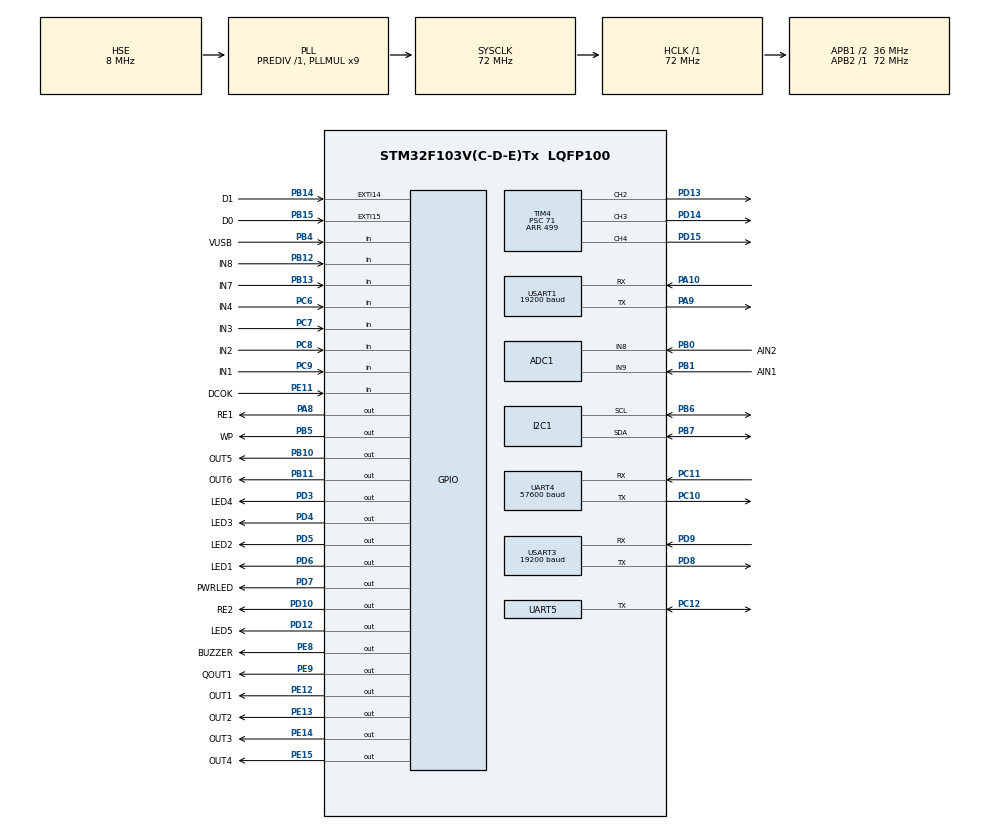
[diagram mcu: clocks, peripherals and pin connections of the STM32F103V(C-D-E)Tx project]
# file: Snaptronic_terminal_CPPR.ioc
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ADC1.Channel-0\#ChannelRegularConversion=ADC_CHANNEL_9
ADC1.Channel-1\#ChannelRegularConversion=ADC_CHANNEL_8
ADC1.ContinuousConvMode=DISABLE
ADC1.EnableAnalogWatchDog=true
ADC1.NbrOfConversion=2
ADC1.NbrOfConversionFlag=1
ADC1.Rank-0\#ChannelRegularConversion=1
ADC1.Rank-1\#ChannelRegularConversion=2
ADC1.SamplingTime-0\#ChannelRegularConversion=ADC_SAMPLETIME_71CYCLES_5
ADC1.SamplingTime-1\#ChannelRegularConversion=ADC_SAMPLETIME_71CYCLES_5
ADC1.WatchdogChannel=ADC_CHANNEL_9
ADC1.master=1
Dma.ADC1.4.Direction=DMA_PERIPH_TO_MEMORY
Dma.ADC1.4.Instance=DMA1_Channel1
Dma.ADC1.4.MemDataAlignment=DMA_MDATAALIGN_HALFWORD
Dma.ADC1.4.MemInc=DMA_MINC_ENABLE
Dma.ADC1.4.Mode=DMA_NORMAL
Dma.ADC1.4.PeriphDataAlignment=DMA_PDATAALIGN_HALFWORD
Dma.ADC1.4.PeriphInc=DMA_PINC_DISABLE
Dma.ADC1.4.Priority=DMA_PRIORITY_LOW
Dma.I2C1_RX.2.Direction=DMA_PERIPH_TO_MEMORY
Dma.I2C1_RX.2.Instance=DMA1_Channel7
Dma.I2C1_RX.2.MemDataAlignment=DMA_MDATAALIGN_BYTE
Dma.I2C1_RX.2.MemInc=DMA_MINC_ENABLE
Dma.I2C1_RX.2.Mode=DMA_NORMAL
Dma.I2C1_RX.2.PeriphDataAlignment=DMA_PDATAALIGN_BYTE
Dma.I2C1_RX.2.PeriphInc=DMA_PINC_DISABLE
Dma.I2C1_RX.2.Priority=DMA_PRIORITY_LOW
Dma.I2C1_TX.3.Direction=DMA_MEMORY_TO_PERIPH
Dma.I2C1_TX.3.Instance=DMA1_Channel6
Dma.I2C1_TX.3.MemDataAlignment=DMA_MDATAALIGN_BYTE
Dma.I2C1_TX.3.MemInc=DMA_MINC_ENABLE
Dma.I2C1_TX.3.Mode=DMA_NORMAL
Dma.I2C1_TX.3.PeriphDataAlignment=DMA_PDATAALIGN_BYTE
Dma.I2C1_TX.3.PeriphInc=DMA_PINC_DISABLE
Dma.I2C1_TX.3.Priority=DMA_PRIORITY_LOW
Dma.Request0=USART3_RX
Dma.Request1=USART3_TX
Dma.Request2=I2C1_RX
Dma.Request3=I2C1_TX
Dma.Request4=ADC1
Dma.Request5=UART4_RX
Dma.Request6=UART4_TX
Dma.UART4_RX.5.Direction=DMA_PERIPH_TO_MEMORY
Dma.UART4_RX.5.Instance=DMA2_Channel3
Dma.UART4_RX.5.MemDataAlignment=DMA_MDATAALIGN_BYTE
Dma.UART4_RX.5.MemInc=DMA_MINC_ENABLE
Dma.UART4_RX.5.Mode=DMA_NORMAL
Dma.UART4_RX.5.PeriphDataAlignment=DMA_PDATAALIGN_BYTE
Dma.UART4_RX.5.PeriphInc=DMA_PINC_DISABLE
Dma.UART4_RX.5.Priority=DMA_PRIORITY_HIGH
Dma.UART4_TX.6.Direction=DMA_MEMORY_TO_PERIPH
Dma.UART4_TX.6.Instance=DMA2_Channel5
Dma.UART4_TX.6.MemDataAlignment=DMA_MDATAALIGN_BYTE
Dma.UART4_TX.6.MemInc=DMA_MINC_ENABLE
Dma.UART4_TX.6.Mode=DMA_NORMAL
Dma.UART4_TX.6.PeriphDataAlignment=DMA_PDATAALIGN_BYTE
Dma.UART4_TX.6.PeriphInc=DMA_PINC_DISABLE
Dma.UART4_TX.6.Priority=DMA_PRIORITY_HIGH
Dma.USART3_RX.0.Direction=DMA_PERIPH_TO_MEMORY
Dma.USART3_RX.0.Instance=DMA1_Channel3
Dma.USART3_RX.0.MemDataAlignment=DMA_MDATAALIGN_BYTE
Dma.USART3_RX.0.MemInc=DMA_MINC_ENABLE
Dma.USART3_RX.0.Mode=DMA_NORMAL
Dma.USART3_RX.0.PeriphDataAlignment=DMA_PDATAALIGN_BYTE
Dma.USART3_RX.0.PeriphInc=DMA_PINC_DISABLE
Dma.USART3_RX.0.Priority=DMA_PRIORITY_MEDIUM
Dma.USART3_TX.1.Direction=DMA_MEMORY_TO_PERIPH
Dma.USART3_TX.1.Instance=DMA1_Channel2
Dma.USART3_TX.1.MemDataAlignment=DMA_MDATAALIGN_BYTE
Dma.USART3_TX.1.MemInc=DMA_MINC_ENABLE
Dma.USART3_TX.1.Mode=DMA_NORMAL
Dma.USART3_TX.1.PeriphDataAlignment=DMA_PDATAALIGN_BYTE
Dma.USART3_TX.1.PeriphInc=DMA_PINC_DISABLE
Dma.USART3_TX.1.Priority=DMA_PRIORITY_MEDIUM
FREERTOS.BinarySemaphores01=usbSem,Dynamic,NULL
FREERTOS.Queues01=uart4DataSize,4,uint16_t,0,Dynamic,NULL,NULL;uart1DataSize,4,uint16_t,0,Dynamic,NULL,NULL
FREERTOS.Tasks01=defaultTask,24,128,StartDefaultTask,Default,NULL,Dynamic,NULL,NULL;SysUtil,24,512,StartSysUtil,Default,NULL,Dynamic,NULL,NULL;IOUtil,24,512,StartIOUtil,Default,NULL,Dynamic,NULL,NULL;UsbSlave,24,1024,StartUsbSlave,Default,NULL,Dynamic,NULL,NULL;RobotProcess,24,1024,StartRobotProcess,Default,NULL,Dynamic,NULL,NULL;ClimatControl,16,512,StartClimatControl,Default,NULL,Dynamic,NULL,NULL;SecurityTask,16,512,StartSecurityTask,Default,NULL,Dynamic,NULL,NULL;LedStrip,16,512,StartLedStrip,Default,NULL,Dynamic,NULL,NULL;ModbusMaster,8,1024,StartModbusMaster,Default,NULL,Dynamic,NULL,NULL
FREERTOS.Timers01=usbLedTimer,usbLedCallback,osTimerOnce,Default,NULL,Dynamic,NULL;noConnectTimer,noConnectCallback,osTimerPeriodic,Default,NULL,Dynamic,NULL
FREERTOS.configCHECK_FOR_STACK_OVERFLOW=1
FREERTOS.configQUEUE_REGISTRY_SIZE=12
FREERTOS.configTOTAL_HEAP_SIZE=40960
FREERTOS.configUSE_MALLOC_FAILED_HOOK=1
FREERTOS.configUSE_NEWLIB_REENTRANT=1
FREERTOS.configUSE_TIMERS=1
I2C1.I2C_Mode=I2C_Fast
IWDG.Prescaler=IWDG_PRESCALER_128
IWDG.Reload=2300
Mcu.Family=STM32F1
Mcu.Name=STM32F103V(C-D-E)Tx
Mcu.Package=LQFP100
NVIC.DMA1_Channel1_IRQn=true\:5\:0\:false\:false\:true\:true\:false\:true\:true
NVIC.DMA1_Channel2_IRQn=true\:5\:0\:false\:false\:true\:true\:false\:true\:true
NVIC.DMA1_Channel3_IRQn=true\:5\:0\:false\:false\:true\:true\:false\:true\:true
NVIC.DMA1_Channel6_IRQn=true\:5\:0\:false\:false\:true\:true\:false\:true\:true
NVIC.DMA1_Channel7_IRQn=true\:5\:0\:false\:false\:true\:true\:false\:true\:true
NVIC.DMA2_Channel3_IRQn=true\:5\:0\:false\:false\:true\:true\:false\:true\:true
NVIC.DMA2_Channel4_5_IRQn=true\:5\:0\:false\:false\:true\:true\:false\:true\:true
NVIC.EXTI15_10_IRQn=true\:5\:0\:false\:false\:true\:true\:true\:true\:true
NVIC.I2C1_EV_IRQn=true\:5\:0\:false\:false\:true\:true\:true\:true\:true
NVIC.PriorityGroup=NVIC_PRIORITYGROUP_4
NVIC.TIM3_IRQn=true\:15\:0\:false\:false\:true\:false\:false\:true\:true
NVIC.TimeBase=TIM3_IRQn
NVIC.TimeBaseIP=TIM3
NVIC.UART4_IRQn=true\:5\:0\:false\:false\:true\:true\:true\:true\:true
NVIC.USART1_IRQn=true\:5\:0\:true\:false\:true\:true\:true\:true\:true
NVIC.USART3_IRQn=true\:5\:0\:false\:false\:true\:true\:true\:true\:true
OSC_IN.Mode=HSE-External-Oscillator
OSC_IN.Signal=RCC_OSC_IN
OSC_OUT.Mode=HSE-External-Oscillator
OSC_OUT.Signal=RCC_OSC_OUT
PA10.Mode=Asynchronous
PA10.Signal=USART1_RX
PA13.Mode=Trace_Asynchronous_SW
PA13.Signal=SYS_JTMS-SWDIO
PA14.Mode=Trace_Asynchronous_SW
PA14.Signal=SYS_JTCK-SWCLK
PA8.GPIO_Label=RE1
PA8.GPIO_Speed=GPIO_SPEED_FREQ_HIGH
PA8.PinState=GPIO_PIN_RESET
PA8.Signal=GPIO_Output
PA9.Mode=Asynchronous
PA9.Signal=USART1_TX
PB0.GPIO_Label=AIN2
PB0.Signal=ADCx_IN8
PB1.GPIO_Label=AIN1
PB1.Signal=ADCx_IN9
PB10.GPIO_Label=OUT5
PB10.Signal=GPIO_Output
PB11.GPIO_Label=OUT6
PB11.Signal=GPIO_Output
PB12.GPIO_Label=IN8
PB12.Signal=GPIO_Input
PB13.GPIO_Label=IN7
PB13.Signal=GPIO_Input
PB14.GPIO_Label=D1
PB14.GPIO_ModeDefaultEXTI=GPIO_MODE_IT_FALLING
PB14.Signal=GPXTI14
PB15.GPIO_Label=D0
PB15.GPIO_ModeDefaultEXTI=GPIO_MODE_IT_FALLING
PB15.Signal=GPXTI15
PB3.Mode=Trace_Asynchronous_SW
PB3.Signal=SYS_JTDO-TRACESWO
PB4.GPIO_Label=VUSB
PB4.Signal=GPIO_Input
PB5.GPIO_Label=WP
PB5.GPIO_Speed=GPIO_SPEED_FREQ_HIGH
PB5.Signal=GPIO_Output
PB6.Mode=I2C
PB6.Signal=I2C1_SCL
PB7.Mode=I2C
PB7.Signal=I2C1_SDA
PC10.Mode=Asynchronous
PC10.Signal=UART4_TX
PC11.Mode=Asynchronous
PC11.Signal=UART4_RX
PC12.Mode=Half_duplex(single_wire_mode)
PC12.Signal=UART5_TX
PC6.GPIO_Label=IN4
PC6.Signal=GPIO_Input
PC7.GPIO_Label=IN3
PC7.Signal=GPIO_Input
PC8.GPIO_Label=IN2
PC8.Signal=GPIO_Input
PC9.GPIO_Label=IN1
PC9.Signal=GPIO_Input
PD10.GPIO_Label=RE2
PD10.GPIO_Speed=GPIO_SPEED_FREQ_HIGH
PD10.Signal=GPIO_Output
PD12.GPIO_Label=LED5
PD12.GPIO_ModeDefaultOutputPP=GPIO_MODE_OUTPUT_OD
PD12.GPIO_PuPd=GPIO_NOPULL
PD12.Signal=GPIO_Output
PD13.GPIO_Speed=GPIO_SPEED_FREQ_LOW
PD13.Signal=S_TIM4_CH2
PD14.GPIO_Speed=GPIO_SPEED_FREQ_LOW
PD14.Signal=S_TIM4_CH3
PD15.Signal=S_TIM4_CH4
PD3.GPIO_Label=LED4
PD3.Signal=GPIO_Output
PD4.GPIO_Label=LED3
PD4.GPIO_ModeDefaultOutputPP=GPIO_MODE_OUTPUT_OD
PD4.GPIO_PuPd=GPIO_NOPULL
PD4.Signal=GPIO_Output
PD5.GPIO_Label=LED2
PD5.GPIO_ModeDefaultOutputPP=GPIO_MODE_OUTPUT_OD
PD5.GPIO_PuPd=GPIO_NOPULL
PD5.Signal=GPIO_Output
PD6.GPIO_Label=LED1
PD6.GPIO_ModeDefaultOutputPP=GPIO_MODE_OUTPUT_OD
PD6.GPIO_PuPd=GPIO_NOPULL
PD6.Signal=GPIO_Output
PD7.GPIO_Label=PWRLED
PD7.GPIO_ModeDefaultOutputPP=GPIO_MODE_OUTPUT_OD
PD7.GPIO_PuPd=GPIO_NOPULL
PD7.Signal=GPIO_Output
PD8.Mode=Asynchronous
PD8.Signal=USART3_TX
PD9.Mode=Asynchronous
PD9.Signal=USART3_RX
PE11.GPIO_Label=DCOK
PE11.Signal=GPIO_Input
PE12.GPIO_Label=OUT1
PE12.Signal=GPIO_Output
PE13.GPIO_Label=OUT2
PE13.Signal=GPIO_Output
PE14.GPIO_Label=OUT3
PE14.Signal=GPIO_Output
PE15.GPIO_Label=OUT4
PE15.Signal=GPIO_Output
PE8.GPIO_Label=BUZZER
PE8.Signal=GPIO_Output
PE9.GPIO_Label=QOUT1
PE9.Signal=GPIO_Output
ProjectManager.HeapSize=0x200
ProjectManager.StackSize=0x400
ProjectManager.TargetToolchain=STM32CubeIDE
RCC.ADCPresc=RCC_ADCPCLK2_DIV6
RCC.AHBFreq_Value=72000000
RCC.APB1CLKDivider=RCC_HCLK_DIV2
RCC.APB1Freq_Value=36000000
RCC.APB1TimFreq_Value=72000000
RCC.APB2Freq_Value=72000000
RCC.APB2TimFreq_Value=72000000
RCC.HCLKFreq_Value=72000000
RCC.PLLMUL=RCC_PLL_MUL9
RCC.PLLSourceVirtual=RCC_PLLSOURCE_HSE
RCC.SYSCLKFreq_VALUE=72000000
RCC.SYSCLKSource=RCC_SYSCLKSOURCE_PLLCLK
RCC.USBFreq_Value=48000000
RCC.USBPrescaler=RCC_USBCLKSOURCE_PLL_DIV1_5
SH.ADCx_IN8.0=ADC1_IN8,IN8
SH.ADCx_IN9.0=ADC1_IN9,IN9
SH.S_TIM4_CH2.0=TIM4_CH2,PWM Generation2 CH2
SH.S_TIM4_CH3.0=TIM4_CH3,PWM Generation3 CH3
SH.S_TIM4_CH4.0=TIM4_CH4,PWM Generation4 CH4
TIM2.AutoReloadPreload=TIM_AUTORELOAD_PRELOAD_ENABLE
TIM2.Period=89
TIM4.Channel-PWM\ Generation2\ CH2=TIM_CHANNEL_2
TIM4.Channel-PWM\ Generation3\ CH3=TIM_CHANNEL_3
TIM4.Channel-PWM\ Generation4\ CH4=TIM_CHANNEL_4
TIM4.Period=499
TIM4.Prescaler=71
UART4.BaudRate=57600
UART4.VirtualMode=Asynchronous
UART5.BaudRate=9600
UART5.VirtualMode=Asynchronous
USART1.BaudRate=19200
USART1.VirtualMode=VM_ASYNC
USART3.BaudRate=19200
USART3.VirtualMode=VM_ASYNC
VP_FREERTOS_VS_CMSIS_V2.Mode=CMSIS_V2
VP_IWDG_VS_IWDG.Mode=IWDG_Activate
VP_SYS_VS_tim3.Mode=TIM3
VP_TIM2_VS_ClockSourceINT.Mode=Internal
board=custom

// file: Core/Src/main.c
/* USER CODE BEGIN Header */
/**
  ******************************************************************************
  * @file           : main.c
  * @brief          : Main program body
  ******************************************************************************
  * @attention
  *
  * <h2><center>&copy; Copyright (c) 2024 STMicroelectronics.
  * All rights reserved.</center></h2>
  *
  * This software component is licensed by ST under BSD 3-Clause license,
  * the "License"; You may not use this file except in compliance with the
  * License. You may obtain a copy of the License at:
  *                        opensource.org/licenses/BSD-3-Clause
  *
  ******************************************************************************
  */
/* USER CODE END Header */
#include "main.h"
#include "cmsis_os.h"

/* USER CODE BEGIN Includes */
#include "stdio.h"
#include "init.h"
#include "lcd1602.h"
#include "usb_modbus.h"
#include "slaveDevices.h"
#include "Modbus.h"
#include "terminal_util_DG.h"
#include "GyverMotor.h"
#include "wiegand.h"
#include "ledUART.h"
//#include "eeprom.h"
/* USER CODE END Includes */

/* USER CODE BEGIN PD */
#define REMOTE
#define MASTER_KEY 6393037			//Код мастер ключа
#define D0        D0_Pin
#define D1        D1_Pin

/* USER CODE END PD */

ADC_HandleTypeDef hadc1;
DMA_HandleTypeDef hdma_adc1;

I2C_HandleTypeDef hi2c1;
DMA_HandleTypeDef hdma_i2c1_rx;
DMA_HandleTypeDef hdma_i2c1_tx;

IWDG_HandleTypeDef hiwdg;

TIM_HandleTypeDef htim2;
TIM_HandleTypeDef htim4;

UART_HandleTypeDef huart4;
UART_HandleTypeDef huart5;
UART_HandleTypeDef huart1;
UART_HandleTypeDef huart3;
DMA_HandleTypeDef hdma_uart4_rx;
DMA_HandleTypeDef hdma_uart4_tx;
DMA_HandleTypeDef hdma_usart3_rx;
DMA_HandleTypeDef hdma_usart3_tx;

/* Definitions for defaultTask */
osThreadId_t defaultTaskHandle;
const osThreadAttr_t defaultTask_attributes = {
  .name = "defaultTask",
  .stack_size = 128 * 4,
  .priority = (osPriority_t) osPriorityNormal,
};
/* Definitions for SysUtil */
osThreadId_t SysUtilHandle;
const osThreadAttr_t SysUtil_attributes = {
  .name = "SysUtil",
  .stack_size = 512 * 4,
  .priority = (osPriority_t) osPriorityNormal,
};
/* Definitions for IOUtil */
osThreadId_t IOUtilHandle;
const osThreadAttr_t IOUtil_attributes = {
  .name = "IOUtil",
  .stack_size = 512 * 4,
  .priority = (osPriority_t) osPriorityNormal,
};
/* Definitions for UsbSlave */
osThreadId_t UsbSlaveHandle;
const osThreadAttr_t UsbSlave_attributes = {
  .name = "UsbSlave",
  .stack_size = 1024 * 4,
  .priority = (osPriority_t) osPriorityNormal,
};
/* Definitions for RobotProcess */
osThreadId_t RobotProcessHandle;
const osThreadAttr_t RobotProcess_attributes = {
  .name = "RobotProcess",
  .stack_size = 1024 * 4,
  .priority = (osPriority_t) osPriorityNormal,
};
/* Definitions for ClimatControl */
osThreadId_t ClimatControlHandle;
const osThreadAttr_t ClimatControl_attributes = {
  .name = "ClimatControl",
  .stack_size = 512 * 4,
  .priority = (osPriority_t) osPriorityBelowNormal,
};
/* Definitions for SecurityTask */
osThreadId_t SecurityTaskHandle;
const osThreadAttr_t SecurityTask_attributes = {
  .name = "SecurityTask",
  .stack_size = 512 * 4,
  .priority = (osPriority_t) osPriorityBelowNormal,
};
/* Definitions for LedStrip */
osThreadId_t LedStripHandle;
const osThreadAttr_t LedStrip_attributes = {
  .name = "LedStrip",
  .stack_size = 512 * 4,
  .priority = (osPriority_t) osPriorityBelowNormal,
};
/* Definitions for ModbusMaster */
osThreadId_t ModbusMasterHandle;
const osThreadAttr_t ModbusMaster_attributes = {
  .name = "ModbusMaster",
  .stack_size = 1024 * 4,
  .priority = (osPriority_t) osPriorityLow,
};
/* Definitions for uart4DataSize */
osMessageQueueId_t uart4DataSizeHandle;
const osMessageQueueAttr_t uart4DataSize_attributes = {
  .name = "uart4DataSize"
};
/* Definitions for uart1DataSize */
osMessageQueueId_t uart1DataSizeHandle;
const osMessageQueueAttr_t uart1DataSize_attributes = {
  .name = "uart1DataSize"
};
/* Definitions for usbLedTimer */
osTimerId_t usbLedTimerHandle;
const osTimerAttr_t usbLedTimer_attributes = {
  .name = "usbLedTimer"
};
/* Definitions for noConnectTimer */
osTimerId_t noConnectTimerHandle;
const osTimerAttr_t noConnectTimer_attributes = {
  .name = "noConnectTimer"
};
/* Definitions for usbSem */
osSemaphoreId_t usbSemHandle;
const osSemaphoreAttr_t usbSem_attributes = {
  .name = "usbSem"
};
/* USER CODE BEGIN PV */
/* 0-нет связи, 1-свободно, 2-занято, 3-техобслуживание, 4-заезд авто,
5-открывание дверки, 6-двкерка открыта, 7-Ошибка, 8-Тревога, 9-Нет связи с ПО
*/
uint8_t lightEffect=1;
const uint8_t brightness = 205; //Яркость подсветки 0-255 (меньше 80 выглядит плохо)
uint8_t doorMotorState = 0, alarm = 0, noUsbConnect = 0; // Доп статусы для подсветки, приоритетные
uint8_t dataUartBuffer[8]; //Буфер для данных от модуля подсветки
uint8_t security = 0;
uint16_t dataUartSize;
uint32_t connectTimer = 0;
volatile uint8_t adcDataIsReady=0;
volatile uint8_t wig_flag_inrt = 1;
uint16_t adc[2];
uint16_t ain1, ain2, ainMax;
float temper=24.0f, hum=50.0f; 					//Переменные влажности и температуры встроенного датчика
uint8_t bufTemp[4];
uint8_t bufHum[4];
modbusHandler_t ModbusH2;
modbus_t robot2[6], gateIN[2], gateOUT[2], remote[2]; //Структуры для Modbus Master
uint16_t ModbusDATA[128]; //Буфер даннх для Modbus Master
uint32_t keyStorage[5] = {MASTER_KEY, 11012445, 11064873, 0, 0}; // Буфер хранения ключей
/* USER CODE END PV */

void SystemClock_Config(void);
static void MX_GPIO_Init(void);
static void MX_DMA_Init(void);
static void MX_I2C1_Init(void);
static void MX_TIM2_Init(void);
static void MX_TIM4_Init(void);
static void MX_UART4_Init(void);
static void MX_UART5_Init(void);
static void MX_USART3_UART_Init(void);
static void MX_ADC1_Init(void);
static void MX_IWDG_Init(void);
static void MX_USART1_UART_Init(void);
void StartDefaultTask(void *argument);
void StartSysUtil(void *argument);
void StartIOUtil(void *argument);
void StartUsbSlave(void *argument);
void StartRobotProcess(void *argument);
void StartClimatControl(void *argument);
void StartSecurityTask(void *argument);
void StartLedStrip(void *argument);
void StartModbusMaster(void *argument);
void usbLedCallback(void *argument);
void noConnectCallback(void *argument);

/* USER CODE BEGIN 0 */

void HAL_GPIO_EXTI_Callback(uint16_t GPIO_Pin)
{
        if(wig_flag_inrt && GPIO_Pin == D0)
        {
                ReadD0();
        }
        else if(wig_flag_inrt && GPIO_Pin == D1)
        {
                ReadD1();
        }
}

void HAL_ADC_ConvCpltCallback(ADC_HandleTypeDef* hadc)
{
    if(hadc->Instance == ADC1)
    {
    	adcDataIsReady = 1;
//    	HAL_ADC_Stop_DMA(&hadc1);
    }
}
void vApplicationStackOverflowHook( TaskHandle_t xTask, char *pcTaskName ){
	printf("we have a problem...");
}

/* USER CODE END 0 */

int main(void)
{

  /* USER CODE BEGIN 1 */
struct dataMain settings;
  /* USER CODE END 1 */

  /* MCU Configuration--------------------------------------------------------*/

  /* Reset of all peripherals, Initializes the Flash interface and the Systick. */
  HAL_Init();

  /* Configure the system clock */
  SystemClock_Config();

  /* USER CODE BEGIN SysInit */
//  usbReInit(); // Иницализация USB

  /* USER CODE END SysInit */

  /* Initialize all configured peripherals */
  MX_GPIO_Init();
  MX_DMA_Init();
  MX_I2C1_Init();
  MX_TIM2_Init();
  MX_TIM4_Init();
  MX_UART4_Init();
  MX_UART5_Init();
  MX_USART3_UART_Init();
  MX_ADC1_Init();
  MX_IWDG_Init();
  MX_USART1_UART_Init();
  /* USER CODE BEGIN 2 */
  ledInit();
//  HAL_GPIO_WritePin(WP_GPIO_Port, WP_Pin, 1);

//  LCD_Init();
//  LCD_SendString("    AquaRobot ");

  HAL_ADCEx_Calibration_Start(&hadc1);
  HAL_ADC_Start_DMA(&hadc1, (uint32_t*)&adc, 2); // стартуем АЦП
  /* пока что так, затем реализовать чтение настроек из EEPROM */
  settings.timeToEntance=40;				//Время заезда
  settings.timeToExit=40;
  settings.startDelay=3;
  settings.gateMode=1;
  settings.coolerTemp=30;
  settings.heaterTemp = 5;

  timeToEntance = settings.timeToEntance;
  timeToExit = settings.timeToExit;
  startDelay = settings.startDelay;
  gateMode = settings.gateMode;
  coolerTemp = settings.coolerTemp;
  heaterTemp = settings.heaterTemp;
  readyDelay = 5000;

  /* Master initialization */
  ModbusH2.uModbusType = MB_MASTER;
  ModbusH2.port =  &huart3;
  ModbusH2.u8id = 0; // For master it must be 0
  ModbusH2.u16timeOut = 100;
  ModbusH2.EN_Port = RE2_GPIO_Port;
  ModbusH2.EN_Pin = RE2_Pin;
  ModbusH2.u16regs = ModbusDATA;
  ModbusH2.u16regsize= sizeof(ModbusDATA)/sizeof(ModbusDATA[0]);
  ModbusH2.xTypeHW = USART_HW_DMA;
  //Initialize Modbus library
  ModbusInit(&ModbusH2);
  //Start capturing traffic on serial Port
  ModbusStart(&ModbusH2);
  // Старт UART подсветки и обмена С ПО
  HAL_UARTEx_ReceiveToIdle_IT(&huart4, dataUartBuffer, 5);
  HAL_UARTEx_ReceiveToIdle_IT(&huart1, usbRxBuffer, 16);
  /* USER CODE END 2 */

  /* Init scheduler */
  osKernelInitialize();

  /* Create the semaphores(s) */
  /* creation of usbSem */
  usbSemHandle = osSemaphoreNew(1, 0, &usbSem_attributes);

  /* Create the timer(s) */
  /* creation of usbLedTimer */
  usbLedTimerHandle = osTimerNew(usbLedCallback, osTimerOnce, NULL, &usbLedTimer_attributes);

  /* creation of noConnectTimer */
  noConnectTimerHandle = osTimerNew(noConnectCallback, osTimerPeriodic, NULL, &noConnectTimer_attributes);

  /* USER CODE BEGIN RTOS_TIMERS */
  /* start timers, add new ones, ... */
  osTimerStart(noConnectTimerHandle, 10000);
  robotProcessingInit();
  /* USER CODE END RTOS_TIMERS */

  /* Create the queue(s) */
  /* creation of uart4DataSize */
  uart4DataSizeHandle = osMessageQueueNew (4, sizeof(uint16_t), &uart4DataSize_attributes);

  /* creation of uart1DataSize */
  uart1DataSizeHandle = osMessageQueueNew (4, sizeof(uint16_t), &uart1DataSize_attributes);

  /* Create the thread(s) */
  /* creation of defaultTask */
  defaultTaskHandle = osThreadNew(StartDefaultTask, NULL, &defaultTask_attributes);

  /* creation of SysUtil */
  SysUtilHandle = osThreadNew(StartSysUtil, NULL, &SysUtil_attributes);

  /* creation of IOUtil */
  IOUtilHandle = osThreadNew(StartIOUtil, NULL, &IOUtil_attributes);

  /* creation of UsbSlave */
  UsbSlaveHandle = osThreadNew(StartUsbSlave, NULL, &UsbSlave_attributes);

  /* creation of RobotProcess */
  RobotProcessHandle = osThreadNew(StartRobotProcess, NULL, &RobotProcess_attributes);

  /* creation of ClimatControl */
  ClimatControlHandle = osThreadNew(StartClimatControl, NULL, &ClimatControl_attributes);

  /* creation of SecurityTask */
  SecurityTaskHandle = osThreadNew(StartSecurityTask, NULL, &SecurityTask_attributes);

  /* creation of LedStrip */
  LedStripHandle = osThreadNew(StartLedStrip, NULL, &LedStrip_attributes);

  /* creation of ModbusMaster */
  ModbusMasterHandle = osThreadNew(StartModbusMaster, NULL, &ModbusMaster_attributes);

  /* Start scheduler */
  osKernelStart();

  /* We should never get here as control is now taken by the scheduler */

  /* Infinite loop */
  while (1)
  {

  }
}

void SystemClock_Config(void)
{
  RCC_OscInitTypeDef RCC_OscInitStruct = {0};
  RCC_ClkInitTypeDef RCC_ClkInitStruct = {0};
  RCC_PeriphCLKInitTypeDef PeriphClkInit = {0};

  /** Initializes the RCC Oscillators according to the specified parameters
  * in the RCC_OscInitTypeDef structure.
  */
  RCC_OscInitStruct.OscillatorType = RCC_OSCILLATORTYPE_LSI|RCC_OSCILLATORTYPE_HSE;
  RCC_OscInitStruct.HSEState = RCC_HSE_ON;
  RCC_OscInitStruct.HSEPredivValue = RCC_HSE_PREDIV_DIV1;
  RCC_OscInitStruct.HSIState = RCC_HSI_ON;
  RCC_OscInitStruct.LSIState = RCC_LSI_ON;
  RCC_OscInitStruct.PLL.PLLState = RCC_PLL_ON;
  RCC_OscInitStruct.PLL.PLLSource = RCC_PLLSOURCE_HSE;
  RCC_OscInitStruct.PLL.PLLMUL = RCC_PLL_MUL9;
  if (HAL_RCC_OscConfig(&RCC_OscInitStruct) != HAL_OK)
  {
    Error_Handler();
  }

  /** Initializes the CPU, AHB and APB buses clocks
  */
  RCC_ClkInitStruct.ClockType = RCC_CLOCKTYPE_HCLK|RCC_CLOCKTYPE_SYSCLK
                              |RCC_CLOCKTYPE_PCLK1|RCC_CLOCKTYPE_PCLK2;
  RCC_ClkInitStruct.SYSCLKSource = RCC_SYSCLKSOURCE_PLLCLK;
  RCC_ClkInitStruct.AHBCLKDivider = RCC_SYSCLK_DIV1;
  RCC_ClkInitStruct.APB1CLKDivider = RCC_HCLK_DIV2;
  RCC_ClkInitStruct.APB2CLKDivider = RCC_HCLK_DIV1;

  if (HAL_RCC_ClockConfig(&RCC_ClkInitStruct, FLASH_LATENCY_2) != HAL_OK)
  {
    Error_Handler();
  }
  PeriphClkInit.PeriphClockSelection = RCC_PERIPHCLK_ADC;
  PeriphClkInit.AdcClockSelection = RCC_ADCPCLK2_DIV6;
  if (HAL_RCCEx_PeriphCLKConfig(&PeriphClkInit) != HAL_OK)
  {
    Error_Handler();
  }
}

static void MX_ADC1_Init(void)
{

  ADC_AnalogWDGConfTypeDef AnalogWDGConfig = {0};
  ADC_ChannelConfTypeDef sConfig = {0};

  /** Common config
  */
  hadc1.Instance = ADC1;
  hadc1.Init.ScanConvMode = ADC_SCAN_ENABLE;
  hadc1.Init.ContinuousConvMode = DISABLE;
  hadc1.Init.DiscontinuousConvMode = DISABLE;
  hadc1.Init.ExternalTrigConv = ADC_SOFTWARE_START;
  hadc1.Init.DataAlign = ADC_DATAALIGN_RIGHT;
  hadc1.Init.NbrOfConversion = 2;
  if (HAL_ADC_Init(&hadc1) != HAL_OK)
  {
    Error_Handler();
  }

  /** Configure Analog WatchDog 1
  */
  AnalogWDGConfig.WatchdogMode = ADC_ANALOGWATCHDOG_SINGLE_REG;
  AnalogWDGConfig.HighThreshold = 0;
  AnalogWDGConfig.LowThreshold = 0;
  AnalogWDGConfig.Channel = ADC_CHANNEL_9;
  AnalogWDGConfig.ITMode = DISABLE;
  if (HAL_ADC_AnalogWDGConfig(&hadc1, &AnalogWDGConfig) != HAL_OK)
  {
    Error_Handler();
  }

  /** Configure Regular Channel
  */
  sConfig.Channel = ADC_CHANNEL_9;
  sConfig.Rank = ADC_REGULAR_RANK_1;
  sConfig.SamplingTime = ADC_SAMPLETIME_71CYCLES_5;
  if (HAL_ADC_ConfigChannel(&hadc1, &sConfig) != HAL_OK)
  {
    Error_Handler();
  }

  /** Configure Regular Channel
  */
  sConfig.Channel = ADC_CHANNEL_8;
  sConfig.Rank = ADC_REGULAR_RANK_2;
  if (HAL_ADC_ConfigChannel(&hadc1, &sConfig) != HAL_OK)
  {
    Error_Handler();
  }

}

static void MX_I2C1_Init(void)
{

  hi2c1.Instance = I2C1;
  hi2c1.Init.ClockSpeed = 400000;
  hi2c1.Init.DutyCycle = I2C_DUTYCYCLE_2;
  hi2c1.Init.OwnAddress1 = 0;
  hi2c1.Init.AddressingMode = I2C_ADDRESSINGMODE_7BIT;
  hi2c1.Init.DualAddressMode = I2C_DUALADDRESS_DISABLE;
  hi2c1.Init.OwnAddress2 = 0;
  hi2c1.Init.GeneralCallMode = I2C_GENERALCALL_DISABLE;
  hi2c1.Init.NoStretchMode = I2C_NOSTRETCH_DISABLE;
  if (HAL_I2C_Init(&hi2c1) != HAL_OK)
  {
    Error_Handler();
  }

}

static void MX_IWDG_Init(void)
{

  hiwdg.Instance = IWDG;
  hiwdg.Init.Prescaler = IWDG_PRESCALER_128;
  hiwdg.Init.Reload = 2300;
  if (HAL_IWDG_Init(&hiwdg) != HAL_OK)
  {
    Error_Handler();
  }

}

static void MX_TIM2_Init(void)
{

  TIM_ClockConfigTypeDef sClockSourceConfig = {0};
  TIM_MasterConfigTypeDef sMasterConfig = {0};

  htim2.Instance = TIM2;
  htim2.Init.Prescaler = 0;
  htim2.Init.CounterMode = TIM_COUNTERMODE_UP;
  htim2.Init.Period = 89;
  htim2.Init.ClockDivision = TIM_CLOCKDIVISION_DIV1;
  htim2.Init.AutoReloadPreload = TIM_AUTORELOAD_PRELOAD_ENABLE;
  if (HAL_TIM_Base_Init(&htim2) != HAL_OK)
  {
    Error_Handler();
  }
  sClockSourceConfig.ClockSource = TIM_CLOCKSOURCE_INTERNAL;
  if (HAL_TIM_ConfigClockSource(&htim2, &sClockSourceConfig) != HAL_OK)
  {
    Error_Handler();
  }
  sMasterConfig.MasterOutputTrigger = TIM_TRGO_RESET;
  sMasterConfig.MasterSlaveMode = TIM_MASTERSLAVEMODE_DISABLE;
  if (HAL_TIMEx_MasterConfigSynchronization(&htim2, &sMasterConfig) != HAL_OK)
  {
    Error_Handler();
  }

}

static void MX_TIM4_Init(void)
{

  TIM_MasterConfigTypeDef sMasterConfig = {0};
  TIM_OC_InitTypeDef sConfigOC = {0};

  htim4.Instance = TIM4;
  htim4.Init.Prescaler = 71;
  htim4.Init.CounterMode = TIM_COUNTERMODE_UP;
  htim4.Init.Period = 499;
  htim4.Init.ClockDivision = TIM_CLOCKDIVISION_DIV1;
  htim4.Init.AutoReloadPreload = TIM_AUTORELOAD_PRELOAD_DISABLE;
  if (HAL_TIM_PWM_Init(&htim4) != HAL_OK)
  {
    Error_Handler();
  }
  sMasterConfig.MasterOutputTrigger = TIM_TRGO_RESET;
  sMasterConfig.MasterSlaveMode = TIM_MASTERSLAVEMODE_DISABLE;
  if (HAL_TIMEx_MasterConfigSynchronization(&htim4, &sMasterConfig) != HAL_OK)
  {
    Error_Handler();
  }
  sConfigOC.OCMode = TIM_OCMODE_PWM1;
  sConfigOC.Pulse = 0;
  sConfigOC.OCPolarity = TIM_OCPOLARITY_HIGH;
  sConfigOC.OCFastMode = TIM_OCFAST_DISABLE;
  if (HAL_TIM_PWM_ConfigChannel(&htim4, &sConfigOC, TIM_CHANNEL_2) != HAL_OK)
  {
    Error_Handler();
  }
  if (HAL_TIM_PWM_ConfigChannel(&htim4, &sConfigOC, TIM_CHANNEL_3) != HAL_OK)
  {
    Error_Handler();
  }
  if (HAL_TIM_PWM_ConfigChannel(&htim4, &sConfigOC, TIM_CHANNEL_4) != HAL_OK)
  {
    Error_Handler();
  }
  HAL_TIM_MspPostInit(&htim4);

}

static void MX_UART4_Init(void)
{

  huart4.Instance = UART4;
  huart4.Init.BaudRate = 57600;
  huart4.Init.WordLength = UART_WORDLENGTH_8B;
  huart4.Init.StopBits = UART_STOPBITS_1;
  huart4.Init.Parity = UART_PARITY_NONE;
  huart4.Init.Mode = UART_MODE_TX_RX;
  huart4.Init.HwFlowCtl = UART_HWCONTROL_NONE;
  huart4.Init.OverSampling = UART_OVERSAMPLING_16;
  if (HAL_UART_Init(&huart4) != HAL_OK)
  {
    Error_Handler();
  }

}

static void MX_UART5_Init(void)
{

  huart5.Instance = UART5;
  huart5.Init.BaudRate = 9600;
  huart5.Init.WordLength = UART_WORDLENGTH_8B;
  huart5.Init.StopBits = UART_STOPBITS_1;
  huart5.Init.Parity = UART_PARITY_NONE;
  huart5.Init.Mode = UART_MODE_TX_RX;
  huart5.Init.HwFlowCtl = UART_HWCONTROL_NONE;
  huart5.Init.OverSampling = UART_OVERSAMPLING_16;
  if (HAL_HalfDuplex_Init(&huart5) != HAL_OK)
  {
    Error_Handler();
  }

}

static void MX_USART1_UART_Init(void)
{

  huart1.Instance = USART1;
  huart1.Init.BaudRate = 19200;
  huart1.Init.WordLength = UART_WORDLENGTH_8B;
  huart1.Init.StopBits = UART_STOPBITS_1;
  huart1.Init.Parity = UART_PARITY_NONE;
  huart1.Init.Mode = UART_MODE_TX_RX;
  huart1.Init.HwFlowCtl = UART_HWCONTROL_NONE;
  huart1.Init.OverSampling = UART_OVERSAMPLING_16;
  if (HAL_UART_Init(&huart1) != HAL_OK)
  {
    Error_Handler();
  }

}

static void MX_USART3_UART_Init(void)
{

  huart3.Instance = USART3;
  huart3.Init.BaudRate = 19200;
  huart3.Init.WordLength = UART_WORDLENGTH_8B;
  huart3.Init.StopBits = UART_STOPBITS_1;
  huart3.Init.Parity = UART_PARITY_NONE;
  huart3.Init.Mode = UART_MODE_TX_RX;
  huart3.Init.HwFlowCtl = UART_HWCONTROL_NONE;
  huart3.Init.OverSampling = UART_OVERSAMPLING_16;
  if (HAL_UART_Init(&huart3) != HAL_OK)
  {
    Error_Handler();
  }

}

static void MX_DMA_Init(void)
{

  /* DMA controller clock enable */
  __HAL_RCC_DMA1_CLK_ENABLE();
  __HAL_RCC_DMA2_CLK_ENABLE();

  /* DMA interrupt init */
  /* DMA1_Channel1_IRQn interrupt configuration */
  HAL_NVIC_SetPriority(DMA1_Channel1_IRQn, 5, 0);
  HAL_NVIC_EnableIRQ(DMA1_Channel1_IRQn);
  /* DMA1_Channel2_IRQn interrupt configuration */
  HAL_NVIC_SetPriority(DMA1_Channel2_IRQn, 5, 0);
  HAL_NVIC_EnableIRQ(DMA1_Channel2_IRQn);
  /* DMA1_Channel3_IRQn interrupt configuration */
  HAL_NVIC_SetPriority(DMA1_Channel3_IRQn, 5, 0);
  HAL_NVIC_EnableIRQ(DMA1_Channel3_IRQn);
  /* DMA1_Channel6_IRQn interrupt configuration */
  HAL_NVIC_SetPriority(DMA1_Channel6_IRQn, 5, 0);
  HAL_NVIC_EnableIRQ(DMA1_Channel6_IRQn);
  /* DMA1_Channel7_IRQn interrupt configuration */
  HAL_NVIC_SetPriority(DMA1_Channel7_IRQn, 5, 0);
  HAL_NVIC_EnableIRQ(DMA1_Channel7_IRQn);
  /* DMA2_Channel3_IRQn interrupt configuration */
  HAL_NVIC_SetPriority(DMA2_Channel3_IRQn, 5, 0);
  HAL_NVIC_EnableIRQ(DMA2_Channel3_IRQn);
  /* DMA2_Channel4_5_IRQn interrupt configuration */
  HAL_NVIC_SetPriority(DMA2_Channel4_5_IRQn, 5, 0);
  HAL_NVIC_EnableIRQ(DMA2_Channel4_5_IRQn);

}

static void MX_GPIO_Init(void)
{
  GPIO_InitTypeDef GPIO_InitStruct = {0};

  /* GPIO Ports Clock Enable */
  __HAL_RCC_GPIOB_CLK_ENABLE();
  __HAL_RCC_GPIOE_CLK_ENABLE();
  __HAL_RCC_GPIOD_CLK_ENABLE();
  __HAL_RCC_GPIOC_CLK_ENABLE();
  __HAL_RCC_GPIOA_CLK_ENABLE();

  /*Configure GPIO pin Output Level */
  HAL_GPIO_WritePin(GPIOE, BUZZER_Pin|QOUT1_Pin|OUT1_Pin|OUT2_Pin
                          |OUT3_Pin|OUT4_Pin, GPIO_PIN_RESET);

  /*Configure GPIO pin Output Level */
  HAL_GPIO_WritePin(GPIOB, OUT5_Pin|OUT6_Pin|WP_Pin, GPIO_PIN_RESET);

  /*Configure GPIO pin Output Level */
  HAL_GPIO_WritePin(GPIOD, RE2_Pin|LED5_Pin|LED4_Pin|LED3_Pin
                          |LED2_Pin|LED1_Pin|PWRLED_Pin, GPIO_PIN_RESET);

  /*Configure GPIO pin Output Level */
  HAL_GPIO_WritePin(RE1_GPIO_Port, RE1_Pin, GPIO_PIN_RESET);

  /*Configure GPIO pins : BUZZER_Pin QOUT1_Pin OUT1_Pin OUT2_Pin
                           OUT3_Pin OUT4_Pin */
  GPIO_InitStruct.Pin = BUZZER_Pin|QOUT1_Pin|OUT1_Pin|OUT2_Pin
                          |OUT3_Pin|OUT4_Pin;
  GPIO_InitStruct.Mode = GPIO_MODE_OUTPUT_PP;
  GPIO_InitStruct.Pull = GPIO_NOPULL;
  GPIO_InitStruct.Speed = GPIO_SPEED_FREQ_LOW;
  HAL_GPIO_Init(GPIOE, &GPIO_InitStruct);

  /*Configure GPIO pin : DCOK_Pin */
  GPIO_InitStruct.Pin = DCOK_Pin;
  GPIO_InitStruct.Mode = GPIO_MODE_INPUT;
  GPIO_InitStruct.Pull = GPIO_NOPULL;
  HAL_GPIO_Init(DCOK_GPIO_Port, &GPIO_InitStruct);

  /*Configure GPIO pins : OUT5_Pin OUT6_Pin */
  GPIO_InitStruct.Pin = OUT5_Pin|OUT6_Pin;
  GPIO_InitStruct.Mode = GPIO_MODE_OUTPUT_PP;
  GPIO_InitStruct.Pull = GPIO_NOPULL;
  GPIO_InitStruct.Speed = GPIO_SPEED_FREQ_LOW;
  HAL_GPIO_Init(GPIOB, &GPIO_InitStruct);

  /*Configure GPIO pins : IN8_Pin IN7_Pin VUSB_Pin */
  GPIO_InitStruct.Pin = IN8_Pin|IN7_Pin|VUSB_Pin;
  GPIO_InitStruct.Mode = GPIO_MODE_INPUT;
  GPIO_InitStruct.Pull = GPIO_NOPULL;
  HAL_GPIO_Init(GPIOB, &GPIO_InitStruct);

  /*Configure GPIO pins : D1_Pin D0_Pin */
  GPIO_InitStruct.Pin = D1_Pin|D0_Pin;
  GPIO_InitStruct.Mode = GPIO_MODE_IT_FALLING;
  GPIO_InitStruct.Pull = GPIO_NOPULL;
  HAL_GPIO_Init(GPIOB, &GPIO_InitStruct);

  /*Configure GPIO pin : RE2_Pin */
  GPIO_InitStruct.Pin = RE2_Pin;
  GPIO_InitStruct.Mode = GPIO_MODE_OUTPUT_PP;
  GPIO_InitStruct.Pull = GPIO_NOPULL;
  GPIO_InitStruct.Speed = GPIO_SPEED_FREQ_HIGH;
  HAL_GPIO_Init(RE2_GPIO_Port, &GPIO_InitStruct);

  /*Configure GPIO pins : LED5_Pin LED3_Pin LED2_Pin LED1_Pin
                           PWRLED_Pin */
  GPIO_InitStruct.Pin = LED5_Pin|LED3_Pin|LED2_Pin|LED1_Pin
                          |PWRLED_Pin;
  GPIO_InitStruct.Mode = GPIO_MODE_OUTPUT_OD;
  GPIO_InitStruct.Pull = GPIO_NOPULL;
  GPIO_InitStruct.Speed = GPIO_SPEED_FREQ_LOW;
  HAL_GPIO_Init(GPIOD, &GPIO_InitStruct);

  /*Configure GPIO pins : IN4_Pin IN3_Pin IN2_Pin IN1_Pin */
  GPIO_InitStruct.Pin = IN4_Pin|IN3_Pin|IN2_Pin|IN1_Pin;
  GPIO_InitStruct.Mode = GPIO_MODE_INPUT;
  GPIO_InitStruct.Pull = GPIO_NOPULL;
  HAL_GPIO_Init(GPIOC, &GPIO_InitStruct);

  /*Configure GPIO pin : RE1_Pin */
  GPIO_InitStruct.Pin = RE1_Pin;
  GPIO_InitStruct.Mode = GPIO_MODE_OUTPUT_PP;
  GPIO_InitStruct.Pull = GPIO_NOPULL;
  GPIO_InitStruct.Speed = GPIO_SPEED_FREQ_HIGH;
  HAL_GPIO_Init(RE1_GPIO_Port, &GPIO_InitStruct);

  /*Configure GPIO pin : LED4_Pin */
  GPIO_InitStruct.Pin = LED4_Pin;
  GPIO_InitStruct.Mode = GPIO_MODE_OUTPUT_PP;
  GPIO_InitStruct.Pull = GPIO_NOPULL;
  GPIO_InitStruct.Speed = GPIO_SPEED_FREQ_LOW;
  HAL_GPIO_Init(LED4_GPIO_Port, &GPIO_InitStruct);

  /*Configure GPIO pin : WP_Pin */
  GPIO_InitStruct.Pin = WP_Pin;
  GPIO_InitStruct.Mode = GPIO_MODE_OUTPUT_PP;
  GPIO_InitStruct.Pull = GPIO_NOPULL;
  GPIO_InitStruct.Speed = GPIO_SPEED_FREQ_HIGH;
  HAL_GPIO_Init(WP_GPIO_Port, &GPIO_InitStruct);

  /* EXTI interrupt init*/
  HAL_NVIC_SetPriority(EXTI15_10_IRQn, 5, 0);
  HAL_NVIC_EnableIRQ(EXTI15_10_IRQn);

}

void StartDefaultTask(void *argument)
{
  for(;;)
  {
    osDelay(1);
  }
}

void StartSysUtil(void *argument)
{
  /* USER CODE BEGIN StartSysUtil */
//	char str[]={"Hello from uart1/r/n"};
  /* Infinite loop */
  for(;;)
  {
//	HAL_UART_Transmit_IT(&huart1, str, sizeof(str));
	HAL_GPIO_TogglePin(PWRLED_GPIO_Port, PWRLED_Pin);
	HAL_IWDG_Refresh(&hiwdg);

osDelay(800);
  }
  /* USER CODE END StartSysUtil */
}

void StartIOUtil(void *argument)
{
  /* USER CODE BEGIN StartIOUtil */
//uint8_t counter=0;
//uint16_t ain1r=0, ain1k=0;
//float k = 0.07;
//static float filVal = 0;
	/* Infinite loop */
	for (;;)
  {
		if (adcDataIsReady) {
			adcDataIsReady = 0;
			ain1 = adc[0];
			HAL_ADC_Stop_DMA(&hadc1); // это необязательно
//   		    ain1r += adc[0];
//			counter++;
//			if (counter == 5) {
//				ain1 = ain1r / 5;
//				ain1r=0;
//				counter = 0;
//			}

			ain2 = adc[1];
			adc[0] = 0;
			adc[1] = 0;
			HAL_ADC_Start_DMA(&hadc1, (uint32_t*) &adc, 2);
		}
		/*
//-c "$_TARGETNAME configure -rtos FreeRTOS"
		if (abs(ain1k - filVal) > 20)
			k = 0.3;
		else
			k = 0.03;
		filVal += ((float) ain1k - filVal) * k;
		ain1 = (uint16_t) filVal;
		*/

	HAL_GPIO_WritePin(LED5_GPIO_Port, LED5_Pin, !controllerError);

    osDelay(10); // Поменять на 10
  }
  /* USER CODE END StartIOUtil */
}

void StartUsbSlave(void *argument)
{
  /* USER CODE BEGIN StartUsbSlave */
  /* Infinite loop */
  for(;;)
  {
//	osSemaphoreAcquire(usbSemHandle, portMAX_DELAY);
	osMessageQueueGet(uart1DataSizeHandle, &usbRxBufferSize, NULL, portMAX_DELAY);
	usbModbusProcessing(); //Обработчик данных с VCOM (USB COM Port)
	HAL_GPIO_WritePin(LED4_GPIO_Port, LED4_Pin, 0); //Зажигаем синий диод при поступлении даннх
	osTimerStart(noConnectTimerHandle, 10000);
	noUsbConnect = 0; //Есть связь с ПО
	osTimerStart(usbLedTimerHandle, 80); //Гасим диод через 80мс
    osDelay(1);
  }
  /* USER CODE END StartUsbSlave */
}

void StartRobotProcess(void *argument)
{
  /* USER CODE BEGIN StartRobotProcess */
  /* Infinite loop */
  for(;;)
  {
	  dataFromUsbProcessing();
	  gatePhotoHandler();
	  robotHandler();
#ifdef REMOTE
	  remoteHandler();
#endif

	  usbDiscreteRegister[6] = isReady;
	  usbDiscreteRegister[7] = controllerError;
	  usbDiscreteRegister[8] = techBreack; // технический перерыв

    osDelay(1);
  }
  /* USER CODE END StartRobotProcess */
}

void StartClimatControl(void *argument)
{
  /* USER CODE BEGIN StartClimatControl */
	HAL_TIM_PWM_Start(&htim4, TIM_CHANNEL_3);
	uint16_t power;
	uint8_t reqReset = 0xFE;				//Команда сброса
	uint8_t reqTemp = 0xE3;				//Команда запроса температуры
	uint8_t reqHum = 0xE5;				//Команда запроса влажности
	uint8_t sens_addr = (0x40 << 1);		//Адрес датчика
	HAL_I2C_Master_Transmit(&hi2c1, sens_addr, &reqReset, 1, 200); // Сброс встроенного датчика
	uint16_t varTemp = 0;
	uint16_t varHum = 0;
	uint8_t data[3];
//	uint16_t tempVarArr[2];
	/* Infinite loop */
	for (;;) {
		HAL_I2C_Master_Transmit(&hi2c1, sens_addr, &reqTemp, 1, 150); //Запрос температуры
		HAL_I2C_Master_Receive(&hi2c1, sens_addr, data, 3, 150);

		data[1] &= 0xFC;  //Зануляем последние два бита
		varTemp = data[1] | (data[0] << 8);
		temper = (((float) varTemp / 65536) * 175.72) - 46.85; //Преобразуем в градусы по формуле из даташита

		HAL_I2C_Master_Transmit(&hi2c1, sens_addr, &reqHum, 1, 150); //Запрос влажности
		HAL_I2C_Master_Receive(&hi2c1, sens_addr, data, 3, 150);

		data[1] &= 0xFC; //Зануляем последние два бита
		varHum = data[1] | (data[0] << 8);
		hum = (((float) varHum / 65536) * 125.0) - 6.0; //Преобразуем в проценты по формуле из даташита
/*
	 	memcpy(tempVarArr, &temper, sizeof(temper)); //Разбиваем float32 на два uint16 и заносим во временный буфер
	    usbHoldingRegister[10] = tempVarArr[1];
	 	usbHoldingRegister[11] = tempVarArr[0];
	 	int16_t rtu = (int16_t)hum;
		rtu *=10;

		memcpy(tempVarArr, &rtu, sizeof(rtu)); //Разбиваем float32 на два uint16 и заносим во временный буфер
		usbHoldingRegister[12] = tempVarArr[1];
		usbHoldingRegister[13] = tempVarArr[0];*/
//
//		sprintf((char*)bufTemp, "%.1f", temper); //Преобразуем float32 в строку(массив символов)
//		sprintf((char*)bufHum, "%.1f", hum); //Преобразуем float32 в строку(массив символов)

		if ((int16_t)temper <= heaterTemp) {
			HAL_GPIO_WritePin(OUT6_GPIO_Port, OUT6_Pin, GPIO_PIN_SET);
		} else if ((int16_t)temper >= heaterTemp+3) {
			HAL_GPIO_WritePin(OUT6_GPIO_Port, OUT6_Pin, GPIO_PIN_RESET);
		}

		if (temper > 50.0) {
			power = 500;
		} else if (temper > 40.0f) {
			power = 400;
		} else if (temper > 32.0f ){
			power = 300;
		} else if (temper > 28.0f ){
			power = 200;
		} else power = 0;

		TIM4->CCR3 = power;

//		I2C_send(0b10000000, 0);   // переход на 1 строку
//			LCD_SendString("   AquaRobot ");
//			I2C_send(0b11000000, 0);   // переход на 2 строку
//			LCD_SendString((char*)bufTemp);
//			LCD_SendString("`C     ");
//			LCD_SendString((char*)bufHum);
//			LCD_SendString("%");
		osDelay(2000);
	}
  /* USER CODE END StartClimatControl */
}

void StartSecurityTask(void *argument)
{
  /* USER CODE BEGIN StartSecurityTask */
	enum direction{
		OPENING,
		CLOSING,
		INITIALIZATION
	};
	enum position{
		UNKNOWN,
		OPEN,
		CLOSED,
		MIDDLE,
	};
	enum motor {
		STOP,
		RUN
	};
	uint8_t keyIsValid = 0, status=0, direction=0, doorPosition=0, limitSwitch=0, switchRTig=0, switchFlag=0, zeroCurrent=0, overCurrent=0, overCurrentCnt=0;
	uint16_t speed=0, lightPower=0;
	HAL_TIM_PWM_Start(&htim4, TIM_CHANNEL_2); //Сервопривод
	HAL_TIM_PWM_Start(&htim4, TIM_CHANNEL_4); //Подсветка
	uint32_t timer=0, beepTimer=0, alarmTimer=0;
	if (!HAL_GPIO_ReadPin(IN1_GPIO_Port, IN1_Pin)) { //Чекаем концевик замка двЁрки
		doorPosition = CLOSED;
	} else doorPosition = UNKNOWN;
	char trans_str[13];
	uint16_t maxCurrent = 2000;
	uint16_t nullCurrent = 720;
	uint16_t maxSpeed = 500;
	uint32_t wcode = 0;
	uint8_t isMasterKey = 0;
  /* Infinite loop */
  for(;;)
  {

	  limitSwitch = !HAL_GPIO_ReadPin(IN1_GPIO_Port, IN1_Pin); // Положение коцевика замка
	  if(!switchFlag && limitSwitch) {
		  switchFlag = 1;
		  switchRTig = 1;
	  }
	  else if(switchFlag && !limitSwitch){
		  switchFlag = 0;
		  switchRTig = 0;
	  }
	  /*------------*/
		if (wig_available()) {
			wig_flag_inrt = 0;
			wcode = getCode();
			isMasterKey = 0;
			for (uint8_t i=0; i < 5; i++) {
				if (wcode == keyStorage[i] && wcode !=0) {
					keyIsValid = 1;
					if(i==0) isMasterKey = 1;
					break;
				}
			}
			wig_flag_inrt = 1;
			wcode = 0;
			if (!keyIsValid) {
				// Сигнал неверного ключа
				for (int8_t i = 0; i < 3; i++) {
					HAL_GPIO_WritePin(BUZZER_GPIO_Port, BUZZER_Pin, 1);
					osDelay(100);
					HAL_GPIO_WritePin(BUZZER_GPIO_Port, BUZZER_Pin, 0);
					osDelay(100);
				}
			}
		}
		/*----ОТЛАДКА----*/
		/*int16_t wtype = getWiegandType();
		wig_flag_inrt = 1;
		char str[64] = { 0, };
		snprintf(str, 64, "HEX=0x%lX DEC=%lu, Protokol Wiegand-%d\n", wcode,
				wcode, wtype);
		HAL_UART_Transmit(&huart4, (uint8_t*) str, strlen(str), 1000);*/
		/*----КОНЕЦ БЛОКА ОТЛАДК�?----*/
		if (keyIsValid || usbDiscreteRegister[9] ) {
				if(security) security =0;
				alarm = 0;
				keyIsValid = 0;
				usbDiscreteRegister[9] = 0;
				//Подадим предупреждающий сигнал
				if(status == STOP){
				HAL_GPIO_WritePin(BUZZER_GPIO_Port, BUZZER_Pin, 1);
				osDelay(1000);
				HAL_GPIO_WritePin(BUZZER_GPIO_Port, BUZZER_Pin, 0);
				osDelay(500);
				}

			timer = HAL_GetTick();
			beepTimer = timer;
			speed = maxSpeed;
			nullCurrent = ain1;
			if(doorPosition != UNKNOWN){
				if(getState() !=0) {
					status = STOP;
					doorPosition = MIDDLE;
				}else if (doorPosition == CLOSED){
					direction = OPENING;
					status = RUN;
					doorPosition = MIDDLE;
				} else if(doorPosition == OPEN){
					direction = CLOSING;
					status = RUN;
					doorPosition = MIDDLE;
				} else if(doorPosition == MIDDLE){
					speed=200;
					if(direction == CLOSING) direction = OPENING;
					else direction = CLOSING;
					status = RUN;
				}
			}else {
				direction = INITIALIZATION;
				status = RUN;
			}
		}

	doorMotorState = status;
//---------Контроль тока мотора-------------//
	if(status == RUN && (HAL_GetTick()-timer >= 3000)){
		if(ain1 < nullCurrent+50) {
			zeroCurrent = 1;
		}
		else zeroCurrent = 0;

		if(ain1>maxCurrent && !isMasterKey) {
			overCurrent = 1;
			overCurrentCnt++;
		}
		else overCurrent = 0;
	}
	if(status == RUN && overCurrent && direction != INITIALIZATION && overCurrentCnt < 4){
		status = STOP;
		doorPosition=MIDDLE;
		setSpeed(0);
		osDelay(350);
		if(direction == CLOSING) setMotorDirection(NORMAL);
		else setMotorDirection(REVERSE);
		overCurrent = 0;
		setSpeed(220);
		osDelay(3000);
		setSpeed(0);
	}

		if (status == RUN) {
			switch (direction) {
			case OPENING:
				openDoor(3200, timer, speed);
				break;
			case CLOSING:
				closeDoor(4000, timer, speed);
				break;
			case INITIALIZATION:
				initDoorPosition(200, 10000, timer);
				break;
			}
			if (direction == CLOSING && (!getState() || switchRTig || zeroCurrent)) {
				setSmoothSpeed(60);
				osDelay(300);
				smoothTick(0);
				status = STOP;
				overCurrentCnt = 0;
				switchRTig = 0;
				doorPosition = CLOSED;
				if(limitSwitch) security = 1;
			} else if (direction == OPENING && (!getState() || zeroCurrent)) {
				status = STOP;
				doorPosition = OPEN;
				overCurrentCnt = 0;
			} else if (direction == INITIALIZATION && (!getState() || zeroCurrent)) {
				status = STOP;
				doorPosition = OPEN;
			}
			if(HAL_GetTick() - beepTimer >= 600){
				beepTimer = HAL_GetTick();
				HAL_GPIO_TogglePin(BUZZER_GPIO_Port, BUZZER_Pin);
			}
		} else if (status == STOP) {
			HAL_GPIO_WritePin(BUZZER_GPIO_Port, BUZZER_Pin, 0);
			setSmoothSpeed(60);
			smoothTick(0);
			switchRTig = 0;
			zeroCurrent = 0;
			overCurrent = 0;
		}
		if(ain1>ainMax) ainMax = ain1;

		snprintf(trans_str, 13, "ADC %d   ", (uint16_t) ain1);
		I2C_send(0b10000000, 0);   // переход на 1 строку
		LCD_SendString((char*)trans_str);
		snprintf(trans_str, 13, "ADC %d   ", (uint16_t) ainMax);
		I2C_send(0b11000000, 0);   // переход на 2 строку
		LCD_SendString((char*)trans_str);

//-----------------------------------------//

	  /*--------------*/
	//Закрытие дверки кнопкой
/*	  if(!HAL_GPIO_ReadPin(IN2_GPIO_Port, IN2_Pin) && doorPosition == OPEN){

	  }
*/
		if (doorPosition == OPEN) {
//			HAL_GPIO_WritePin(LED2_GPIO_Port, LED2_Pin, 0); // отладка
//			HAL_GPIO_WritePin(OUT1_GPIO_Port, OUT1_Pin, 1); // реле подсветки
			if (lightPower <= htim4.Init.Period) {
				lightPower+=5;
			}

		} else {
//			HAL_GPIO_WritePin(LED2_GPIO_Port, LED2_Pin, 1);
//			HAL_GPIO_WritePin(OUT1_GPIO_Port, OUT1_Pin, 0);
			if (lightPower > 0) {
				lightPower-=5;
			}
		}
		TIM4->CCR4 = lightPower;

		if(security && !limitSwitch) {
			security = 0;
			alarm = 1;
			alarmTimer = HAL_GetTick();
		}
		if(alarm && (HAL_GetTick()-alarmTimer >= 60000)){
			alarm = 0;
			security = 0;
		}

		HAL_GPIO_WritePin(OUT1_GPIO_Port, OUT1_Pin, alarm); // Реле сирены

/*
	  if(doorPosition == CLOSED) HAL_GPIO_WritePin(LED3_GPIO_Port, LED3_Pin, 0);
	  else HAL_GPIO_WritePin(LED3_GPIO_Port, LED3_Pin, 1);
*/
//		HAL_GPIO_WritePin(LED2_GPIO_Port, LED2_Pin, !status);

    osDelay(10);
  }
  /* USER CODE END StartSecurityTask */
}

void StartLedStrip(void *argument)
{
  /* USER CODE BEGIN StartLedStrip */
uint16_t dataUartSize;
  /* Infinite loop */
	for (;;) {
		osMessageQueueGet(uart4DataSizeHandle, &dataUartSize, NULL, portMAX_DELAY);
		if (dataUartSize > 4) {
			if (dataUartBuffer[0] == 0x40 && checkLedCRC(dataUartBuffer, dataUartSize) ) {

				switch (dataUartBuffer[2]){
				case 1:
					if(noUsbConnect) lightEffect = 9;
					if(doorMotorState) lightEffect = 5;
					if(alarm) lightEffect = 8;
					sendEffect(lightEffect);
					break;
				case 2:
					if(alarm) sendBrightness(250);
					else sendBrightness(brightness);
				}
			}
			dataUartSize = 0;
		}
		osDelay(1);
  }
  /* USER CODE END StartLedStrip */
}

void StartModbusMaster(void *argument)
{
  /* USER CODE BEGIN StartModbusMaster */
	robot2[0].u8id = 1;
	robot2[0].u8fct = 4;
	robot2[0].u16RegAdd = 0x00;
	robot2[0].u16CoilsNo = 1;
	robot2[0].u16reg = robotInputs;
	robot2[0].u32CurrentTask = ModbusMasterHandle;

	gateIN[0].u8id = 2;
	gateIN[0].u8fct = 3;
	gateIN[0].u16RegAdd = 0x00;
	gateIN[0].u16CoilsNo = 1;
	gateIN[0].u16reg = gateINInputs;
	gateIN[0].u32CurrentTask = ModbusMasterHandle;

	gateOUT[0].u8id = 3;
	gateOUT[0].u8fct = 3;
	gateOUT[0].u16RegAdd = 0x00;
	gateOUT[0].u16CoilsNo = 1;
	gateOUT[0].u16reg = gateOUTInputs;
	gateOUT[0].u32CurrentTask = ModbusMasterHandle;

	remote[0].u8id = 10;
	remote[0].u8fct = 3;
	remote[0].u16RegAdd = 0x00;
	remote[0].u16CoilsNo = 1;
	remote[0].u16reg = remoteInputs;
	remote[0].u32CurrentTask = ModbusMasterHandle;

	robot2[1].u8id = 1;
	robot2[1].u8fct = 6;
	robot2[1].u16RegAdd = 0x01;
	robot2[1].u16CoilsNo = 1;
	robot2[1].u16reg = robotOutputs;
	robot2[1].u32CurrentTask = ModbusMasterHandle;

	gateIN[1].u8id = 2;
	gateIN[1].u8fct = 6;
	gateIN[1].u16RegAdd = 0x01;
	gateIN[1].u16CoilsNo = 1;
	gateIN[1].u16reg = gateINOutputs;
	gateIN[1].u32CurrentTask = ModbusMasterHandle;

	gateOUT[1].u8id = 3;
	gateOUT[1].u8fct = 6;
	gateOUT[1].u16RegAdd = 0x01;
	gateOUT[1].u16CoilsNo = 1;
	gateOUT[1].u16reg = gateOUTOutnputs;
	gateOUT[1].u32CurrentTask = ModbusMasterHandle;

	remote[1].u8id = 10;
	remote[1].u8fct = 6;
	remote[1].u16RegAdd = 0x01;
	remote[1].u16CoilsNo = 1;
	remote[1].u16reg = remoteOutputs;
	remote[1].u32CurrentTask = ModbusMasterHandle;

	const uint32_t delay = 5;

  /* Infinite loop */
	for (;;) {
			ModbusQuery(&ModbusH2, robot2[0]);
			ulTaskNotifyTake(pdTRUE, portMAX_DELAY); // block until query finishes
			osDelay(delay);

			ModbusQuery(&ModbusH2, robot2[1]);
			ulTaskNotifyTake(pdTRUE, portMAX_DELAY); // block until query finishes
			osDelay(delay);

			ModbusQuery(&ModbusH2, gateIN[0]);
			ulTaskNotifyTake(pdTRUE, portMAX_DELAY); // block until query finishes
			osDelay(delay);

			ModbusQuery(&ModbusH2, gateIN[1]);
			ulTaskNotifyTake(pdTRUE, portMAX_DELAY); // block until query finishes
			osDelay(delay);

			ModbusQuery(&ModbusH2, gateOUT[0]);
			ulTaskNotifyTake(pdTRUE, portMAX_DELAY); // block until query finishes
			osDelay(delay);

			ModbusQuery(&ModbusH2, gateOUT[1]);
			ulTaskNotifyTake(pdTRUE, portMAX_DELAY); // block until query finishes
			osDelay(delay);

#ifdef REMOTE
			ModbusQuery(&ModbusH2, remote[0]);
			ulTaskNotifyTake(pdTRUE, portMAX_DELAY); // block until query finishes
			osDelay(delay);

			ModbusQuery(&ModbusH2, remote[1]);
			ulTaskNotifyTake(pdTRUE, portMAX_DELAY); // block until query finishes
			osDelay(delay);
#endif
	}
  /* USER CODE END StartModbusMaster */
}

/* usbLedCallback function */
void usbLedCallback(void *argument)
{
  /* USER CODE BEGIN usbLedCallback */
	HAL_GPIO_WritePin(LED4_GPIO_Port, LED4_Pin, 1);
  /* USER CODE END usbLedCallback */
}

/* noConnectCallback function */
void noConnectCallback(void *argument)
{
  /* USER CODE BEGIN noConnectCallback */
noUsbConnect = 1;
  /* USER CODE END noConnectCallback */
}

void HAL_TIM_PeriodElapsedCallback(TIM_HandleTypeDef *htim)
{
  if (htim->Instance == TIM3) {
    HAL_IncTick();
  }
}

void Error_Handler(void)
{
  __disable_irq();
  while (1)
  {
  }
}

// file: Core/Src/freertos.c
/* USER CODE BEGIN Header */
/**
  ******************************************************************************
  * File Name          : freertos.c
  * Description        : Code for freertos applications
  ******************************************************************************
  * @attention
  *
  * Copyright (c) 2024 STMicroelectronics.
  * All rights reserved.
  *
  * This software is licensed under terms that can be found in the LICENSE file
  * in the root directory of this software component.
  * If no LICENSE file comes with this software, it is provided AS-IS.
  *
  ******************************************************************************
  */
/* USER CODE END Header */

#include "FreeRTOS.h"
#include "task.h"
#include "main.h"

/* USER CODE BEGIN Includes */
#include "Modbus.h"
#include "semphr.h"
/* USER CODE END Includes */

/* Hook prototypes */
void vApplicationStackOverflowHook(xTaskHandle xTask, signed char *pcTaskName);
void vApplicationMallocFailedHook(void);

/* USER CODE BEGIN 4 */
__weak void vApplicationStackOverflowHook(xTaskHandle xTask, signed char *pcTaskName)
{
   /* Run time stack overflow checking is performed if
   configCHECK_FOR_STACK_OVERFLOW is defined to 1 or 2. This hook function is
   called if a stack overflow is detected. */
}
/* USER CODE END 4 */

/* USER CODE BEGIN 5 */
__weak void vApplicationMallocFailedHook(void)
{
   /* vApplicationMallocFailedHook() will only be called if
   configUSE_MALLOC_FAILED_HOOK is set to 1 in FreeRTOSConfig.h. It is a hook
   function that will get called if a call to pvPortMalloc() fails.
   pvPortMalloc() is called internally by the kernel whenever a task, queue,
   timer or semaphore is created. It is also called by various parts of the
   demo application. If heap_1.c or heap_2.c are used, then the size of the
   heap available to pvPortMalloc() is defined by configTOTAL_HEAP_SIZE in
   FreeRTOSConfig.h, and the xPortGetFreeHeapSize() API function can be used
   to query the size of free heap space that remains (although it does not
   provide information on how the remaining heap might be fragmented). */
}
/* USER CODE END 5 */
